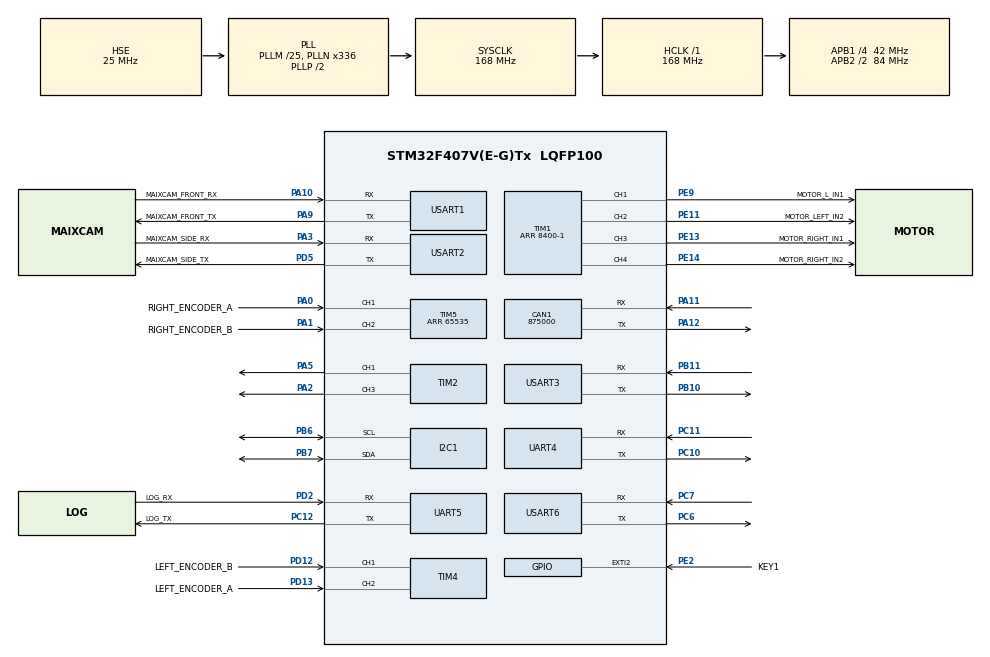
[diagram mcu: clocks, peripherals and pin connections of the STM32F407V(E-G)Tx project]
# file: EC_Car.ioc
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CAN1.CalculateBaudRate=875000
CAN1.CalculateTimeBit=1142
CAN1.CalculateTimeQuantum=380.95238095238096
Dma.Request0=USART1_RX
Dma.Request1=USART2_RX
Dma.Request2=USART6_RX
Dma.Request3=UART5_TX
Dma.UART5_TX.3.Direction=DMA_MEMORY_TO_PERIPH
Dma.UART5_TX.3.FIFOMode=DMA_FIFOMODE_DISABLE
Dma.UART5_TX.3.Instance=DMA1_Stream7
Dma.UART5_TX.3.MemDataAlignment=DMA_MDATAALIGN_BYTE
Dma.UART5_TX.3.MemInc=DMA_MINC_ENABLE
Dma.UART5_TX.3.Mode=DMA_NORMAL
Dma.UART5_TX.3.PeriphDataAlignment=DMA_PDATAALIGN_BYTE
Dma.UART5_TX.3.PeriphInc=DMA_PINC_DISABLE
Dma.UART5_TX.3.Priority=DMA_PRIORITY_LOW
Dma.USART1_RX.0.Direction=DMA_PERIPH_TO_MEMORY
Dma.USART1_RX.0.FIFOMode=DMA_FIFOMODE_DISABLE
Dma.USART1_RX.0.Instance=DMA2_Stream2
Dma.USART1_RX.0.MemDataAlignment=DMA_MDATAALIGN_BYTE
Dma.USART1_RX.0.MemInc=DMA_MINC_ENABLE
Dma.USART1_RX.0.Mode=DMA_NORMAL
Dma.USART1_RX.0.PeriphDataAlignment=DMA_PDATAALIGN_BYTE
Dma.USART1_RX.0.PeriphInc=DMA_PINC_DISABLE
Dma.USART1_RX.0.Priority=DMA_PRIORITY_LOW
Dma.USART2_RX.1.Direction=DMA_PERIPH_TO_MEMORY
Dma.USART2_RX.1.FIFOMode=DMA_FIFOMODE_DISABLE
Dma.USART2_RX.1.Instance=DMA1_Stream5
Dma.USART2_RX.1.MemDataAlignment=DMA_MDATAALIGN_BYTE
Dma.USART2_RX.1.MemInc=DMA_MINC_ENABLE
Dma.USART2_RX.1.Mode=DMA_NORMAL
Dma.USART2_RX.1.PeriphDataAlignment=DMA_PDATAALIGN_BYTE
Dma.USART2_RX.1.PeriphInc=DMA_PINC_DISABLE
Dma.USART2_RX.1.Priority=DMA_PRIORITY_LOW
Dma.USART6_RX.2.Direction=DMA_PERIPH_TO_MEMORY
Dma.USART6_RX.2.FIFOMode=DMA_FIFOMODE_DISABLE
Dma.USART6_RX.2.Instance=DMA2_Stream1
Dma.USART6_RX.2.MemDataAlignment=DMA_MDATAALIGN_BYTE
Dma.USART6_RX.2.MemInc=DMA_MINC_ENABLE
Dma.USART6_RX.2.Mode=DMA_NORMAL
Dma.USART6_RX.2.PeriphDataAlignment=DMA_PDATAALIGN_BYTE
Dma.USART6_RX.2.PeriphInc=DMA_PINC_DISABLE
Dma.USART6_RX.2.Priority=DMA_PRIORITY_LOW
FREERTOS.Tasks01=defaultTask,24,128,StartDefaultTask,Default,NULL,Dynamic,NULL,NULL;CAR,24,1024,CarTask,Default,NULL,Dynamic,NULL,NULL
Mcu.Family=STM32F4
Mcu.Name=STM32F407V(E-G)Tx
Mcu.Package=LQFP100
NVIC.DMA1_Stream5_IRQn=true\:5\:0\:false\:false\:true\:true\:false\:true\:true
NVIC.DMA1_Stream7_IRQn=true\:5\:0\:false\:false\:true\:true\:false\:true\:true
NVIC.DMA2_Stream1_IRQn=true\:5\:0\:false\:false\:true\:true\:false\:true\:true
NVIC.DMA2_Stream2_IRQn=true\:5\:0\:false\:false\:true\:true\:false\:true\:true
NVIC.EXTI2_IRQn=true\:5\:0\:false\:false\:true\:true\:true\:true\:true
NVIC.PriorityGroup=NVIC_PRIORITYGROUP_4
NVIC.TIM4_IRQn=true\:5\:0\:false\:false\:true\:true\:true\:true\:true
NVIC.TIM5_IRQn=true\:5\:0\:false\:false\:true\:true\:true\:true\:true
NVIC.TIM6_DAC_IRQn=true\:15\:0\:false\:false\:true\:false\:false\:true\:true
NVIC.TIM7_IRQn=true\:5\:0\:false\:false\:true\:true\:true\:true\:true
NVIC.TimeBase=TIM6_DAC_IRQn
NVIC.TimeBaseIP=TIM6
NVIC.UART5_IRQn=true\:5\:0\:false\:false\:true\:true\:false\:true\:true
NVIC.USART1_IRQn=true\:5\:0\:false\:false\:true\:true\:true\:true\:true
NVIC.USART2_IRQn=true\:5\:0\:false\:false\:true\:true\:true\:true\:true
NVIC.USART6_IRQn=true\:5\:0\:false\:false\:true\:true\:true\:true\:true
PA0-WKUP.GPIO_Label=RIGHT_ENCODER_A
PA0-WKUP.Signal=S_TIM5_CH1
PA1.GPIO_Label=RIGHT_ENCODER_B
PA1.Signal=S_TIM5_CH2
PA10.GPIO_Label=MAIXCAM_FRONT_RX
PA10.Mode=Asynchronous
PA10.Signal=USART1_RX
PA11.Mode=CAN_Activate
PA11.Signal=CAN1_RX
PA12.Mode=CAN_Activate
PA12.Signal=CAN1_TX
PA13.Mode=Serial_Wire
PA13.Signal=SYS_JTMS-SWDIO
PA14.Mode=Serial_Wire
PA14.Signal=SYS_JTCK-SWCLK
PA2.Signal=S_TIM2_CH3
PA3.GPIO_Label=MAIXCAM_SIDE_RX
PA3.Mode=Asynchronous
PA3.Signal=USART2_RX
PA5.Signal=S_TIM2_CH1_ETR
PA9.GPIO_Label=MAIXCAM_FRONT_TX
PA9.Mode=Asynchronous
PA9.Signal=USART1_TX
PB10.Mode=Asynchronous
PB10.Signal=USART3_TX
PB11.Mode=Asynchronous
PB11.Signal=USART3_RX
PB6.Mode=I2C
PB6.Signal=I2C1_SCL
PB7.Mode=I2C
PB7.Signal=I2C1_SDA
PC10.Mode=Asynchronous
PC10.Signal=UART4_TX
PC11.Mode=Asynchronous
PC11.Signal=UART4_RX
PC12.GPIO_Label=LOG_TX
PC12.Mode=Asynchronous
PC12.Signal=UART5_TX
PC6.Mode=Asynchronous
PC6.Signal=USART6_TX
PC7.Mode=Asynchronous
PC7.Signal=USART6_RX
PD12.GPIO_Label=LEFT_ENCODER_B
PD12.Signal=S_TIM4_CH1
PD13.GPIO_Label=LEFT_ENCODER_A
PD13.Signal=S_TIM4_CH2
PD2.GPIO_Label=LOG_RX
PD2.Mode=Asynchronous
PD2.Signal=UART5_RX
PD5.GPIO_Label=MAIXCAM_SIDE_TX
PD5.Mode=Asynchronous
PD5.Signal=USART2_TX
PE11.GPIO_Label=MOTOR_LEFT_IN2
PE11.Signal=S_TIM1_CH2
PE13.GPIO_Label=MOTOR_RIGHT_IN1
PE13.Signal=S_TIM1_CH3
PE14.GPIO_Label=MOTOR_RIGHT_IN2
PE14.Signal=S_TIM1_CH4
PE2.GPIO_Label=KEY1
PE2.GPIO_ModeDefaultEXTI=GPIO_MODE_IT_FALLING
PE2.GPIO_PuPd=GPIO_PULLUP
PE2.Signal=GPXTI2
PE9.GPIO_Label=MOTOR_L_IN1
PE9.Signal=S_TIM1_CH1
PH0-OSC_IN.Mode=HSE-External-Oscillator
PH0-OSC_IN.Signal=RCC_OSC_IN
PH1-OSC_OUT.Mode=HSE-External-Oscillator
PH1-OSC_OUT.Signal=RCC_OSC_OUT
ProjectManager.HeapSize=0x200
ProjectManager.StackSize=0x400
ProjectManager.TargetToolchain=MDK-ARM V5.32
RCC.48MHZClocksFreq_Value=84000000
RCC.AHBFreq_Value=168000000
RCC.APB1CLKDivider=RCC_HCLK_DIV4
RCC.APB1Freq_Value=42000000
RCC.APB1TimFreq_Value=84000000
RCC.APB2CLKDivider=RCC_HCLK_DIV2
RCC.APB2Freq_Value=84000000
RCC.APB2TimFreq_Value=168000000
RCC.CortexFreq_Value=168000000
RCC.HCLKFreq_Value=168000000
RCC.HSE_VALUE=25000000
RCC.HSI_VALUE=16000000
RCC.LSE_VALUE=32768
RCC.PLLM=25
RCC.PLLN=336
RCC.PLLSourceVirtual=RCC_PLLSOURCE_HSE
RCC.SYSCLKFreq_VALUE=168000000
RCC.SYSCLKSource=RCC_SYSCLKSOURCE_PLLCLK
RCC.VCOOutputFreq_Value=336000000
SH.S_TIM1_CH1.0=TIM1_CH1,PWM Generation1 CH1
SH.S_TIM1_CH2.0=TIM1_CH2,PWM Generation2 CH2
SH.S_TIM1_CH3.0=TIM1_CH3,PWM Generation3 CH3
SH.S_TIM1_CH4.0=TIM1_CH4,PWM Generation4 CH4
SH.S_TIM2_CH1_ETR.0=TIM2_CH1,PWM Generation1 CH1
SH.S_TIM2_CH3.0=TIM2_CH3,PWM Generation3 CH3
SH.S_TIM4_CH1.0=TIM4_CH1,Encoder_Interface
SH.S_TIM4_CH2.0=TIM4_CH2,Encoder_Interface
SH.S_TIM5_CH1.0=TIM5_CH1,Encoder_Interface
SH.S_TIM5_CH2.0=TIM5_CH2,Encoder_Interface
TIM1.Channel-PWM\ Generation1\ CH1=TIM_CHANNEL_1
TIM1.Channel-PWM\ Generation2\ CH2=TIM_CHANNEL_2
TIM1.Channel-PWM\ Generation3\ CH3=TIM_CHANNEL_3
TIM1.Channel-PWM\ Generation4\ CH4=TIM_CHANNEL_4
TIM1.Period=8400-1
TIM2.Channel-PWM\ Generation1\ CH1=TIM_CHANNEL_1
TIM2.Channel-PWM\ Generation3\ CH3=TIM_CHANNEL_3
TIM4.EncoderMode=TIM_ENCODERMODE_TI12
TIM4.IC1Filter=6
TIM4.IC2Filter=6
TIM5.EncoderMode=TIM_ENCODERMODE_TI12
TIM5.IC1Filter=6
TIM5.IC2Filter=6
TIM5.Period=65535
TIM7.AutoReloadPreload=TIM_AUTORELOAD_PRELOAD_ENABLE
TIM7.Period=100-1
TIM7.Prescaler=8400-1
UART4.VirtualMode=Asynchronous
UART5.VirtualMode=Asynchronous
USART1.VirtualMode=VM_ASYNC
USART2.VirtualMode=VM_ASYNC
USART3.VirtualMode=VM_ASYNC
USART6.VirtualMode=VM_ASYNC
VP_FREERTOS_VS_CMSIS_V2.Mode=CMSIS_V2
VP_SYS_VS_tim6.Mode=TIM6
VP_TIM1_VS_ClockSourceINT.Mode=Internal
VP_TIM7_VS_ClockSourceINT.Mode=Enable_Timer
board=custom

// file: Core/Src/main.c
/* USER CODE BEGIN Header */
/**
  ******************************************************************************
  * @file           : main.c
  * @brief          : Main program body
  ******************************************************************************
  * @attention
  *
  * Copyright (c) 2026 STMicroelectronics.
  * All rights reserved.
  *
  * This software is licensed under terms that can be found in the LICENSE file
  * in the root directory of this software component.
  * If no LICENSE file comes with this software, it is provided AS-IS.
  *
  ******************************************************************************
  */
/* USER CODE END Header */
#include "main.h"
#include "cmsis_os.h"
#include "can.h"
#include "dma.h"
#include "i2c.h"
#include "tim.h"
#include "usart.h"
#include "gpio.h"

/* USER CODE BEGIN Includes */
#include <stdio.h>
#include "maixcam.h"
#include "car_task.h"
#include "key.h"
#include "motor.h"
#include "encoder.h"
#include "control.h"
/* USER CODE END Includes */

void SystemClock_Config(void);
void MX_FREERTOS_Init(void);

/* USER CODE BEGIN 0 */
void HAL_UARTEx_RxEventCallback(UART_HandleTypeDef *huart, uint16_t Size) {
  Maixcam_onRxEvent(huart, Size);
}

void HAL_GPIO_EXTI_Callback(uint16_t GPIO_Pin) {
    key_onExti(GPIO_Pin);
}

//void HAL_TIM_PeriodElapsedCallback(TIM_HandleTypeDef *htim) {
//  if (htim->Instance == TIM7) {
//    encoder_read_info_10ms();
//    control_run_10ms();
//  }
//}

/* USER CODE END 0 */

int main(void)
{

  /* MCU Configuration--------------------------------------------------------*/

  /* Reset of all peripherals, Initializes the Flash interface and the Systick. */
  HAL_Init();

  /* Configure the system clock */
  SystemClock_Config();

  /* Initialize all configured peripherals */
  MX_GPIO_Init();
  MX_DMA_Init();
  MX_USART1_UART_Init();
  MX_USART2_UART_Init();
  MX_USART6_UART_Init();
  MX_UART5_Init();
  MX_TIM1_Init();
  MX_TIM4_Init();
  MX_TIM5_Init();
  MX_TIM7_Init();
  MX_CAN1_Init();
  MX_I2C1_Init();
  MX_TIM2_Init();
  MX_UART4_Init();
  MX_USART3_UART_Init();
  /* USER CODE BEGIN 2 */
  Maixcam_init();
  encoder_init();
  motor_start();
  motor_load(0, 0);
  // HAL_TIM_Base_Start_IT(&htim7);

  /* USER CODE END 2 */

  /* Init scheduler */
  osKernelInitialize();  /* Call init function for freertos objects (in cmsis_os2.c) */
  MX_FREERTOS_Init();

  /* Start scheduler */
  osKernelStart();

  /* We should never get here as control is now taken by the scheduler */

  /* Infinite loop */
  while (1) {

  }
}

void SystemClock_Config(void)
{
  RCC_OscInitTypeDef RCC_OscInitStruct = {0};
  RCC_ClkInitTypeDef RCC_ClkInitStruct = {0};

  /** Configure the main internal regulator output voltage
  */
  __HAL_RCC_PWR_CLK_ENABLE();
  __HAL_PWR_VOLTAGESCALING_CONFIG(PWR_REGULATOR_VOLTAGE_SCALE1);

  /** Initializes the RCC Oscillators according to the specified parameters
  * in the RCC_OscInitTypeDef structure.
  */
  RCC_OscInitStruct.OscillatorType = RCC_OSCILLATORTYPE_HSE;
  RCC_OscInitStruct.HSEState = RCC_HSE_ON;
  RCC_OscInitStruct.PLL.PLLState = RCC_PLL_ON;
  RCC_OscInitStruct.PLL.PLLSource = RCC_PLLSOURCE_HSE;
  RCC_OscInitStruct.PLL.PLLM = 25;
  RCC_OscInitStruct.PLL.PLLN = 336;
  RCC_OscInitStruct.PLL.PLLP = RCC_PLLP_DIV2;
  RCC_OscInitStruct.PLL.PLLQ = 4;
  if (HAL_RCC_OscConfig(&RCC_OscInitStruct) != HAL_OK)
  {
    Error_Handler();
  }

  /** Initializes the CPU, AHB and APB buses clocks
  */
  RCC_ClkInitStruct.ClockType = RCC_CLOCKTYPE_HCLK|RCC_CLOCKTYPE_SYSCLK
                              |RCC_CLOCKTYPE_PCLK1|RCC_CLOCKTYPE_PCLK2;
  RCC_ClkInitStruct.SYSCLKSource = RCC_SYSCLKSOURCE_PLLCLK;
  RCC_ClkInitStruct.AHBCLKDivider = RCC_SYSCLK_DIV1;
  RCC_ClkInitStruct.APB1CLKDivider = RCC_HCLK_DIV4;
  RCC_ClkInitStruct.APB2CLKDivider = RCC_HCLK_DIV2;

  if (HAL_RCC_ClockConfig(&RCC_ClkInitStruct, FLASH_LATENCY_5) != HAL_OK)
  {
    Error_Handler();
  }
}

void HAL_TIM_PeriodElapsedCallback(TIM_HandleTypeDef *htim)
{
  if (htim->Instance == TIM6)
  {
    HAL_IncTick();
  }
}

void Error_Handler(void)
{
  __disable_irq();
  while (1)
  {
  }
}

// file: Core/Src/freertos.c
/* USER CODE BEGIN Header */
/**
  ******************************************************************************
  * File Name          : freertos.c
  * Description        : Code for freertos applications
  ******************************************************************************
  * @attention
  *
  * Copyright (c) 2026 STMicroelectronics.
  * All rights reserved.
  *
  * This software is licensed under terms that can be found in the LICENSE file
  * in the root directory of this software component.
  * If no LICENSE file comes with this software, it is provided AS-IS.
  *
  ******************************************************************************
  */
/* USER CODE END Header */

#include "FreeRTOS.h"
#include "task.h"
#include "main.h"
#include "cmsis_os.h"

/* USER CODE BEGIN Includes */
#include "key.h"
#include "car_task.h"
#include "encoder.h"
#include "control.h"
/* USER CODE END Includes */

/* Definitions for defaultTask */
osThreadId_t defaultTaskHandle;
const osThreadAttr_t defaultTask_attributes = {
  .name = "defaultTask",
  .stack_size = 128 * 4,
  .priority = (osPriority_t) osPriorityNormal,
};
/* Definitions for CAR */
osThreadId_t CARHandle;
const osThreadAttr_t CAR_attributes = {
  .name = "CAR",
  .stack_size = 1024 * 4,
  .priority = (osPriority_t) osPriorityNormal,
};

void StartDefaultTask(void *argument);
void CarTask(void *argument);

void MX_FREERTOS_Init(void); /* (MISRA C 2004 rule 8.1) */

void MX_FREERTOS_Init(void) {

  /* Create the thread(s) */
  /* creation of defaultTask */
  defaultTaskHandle = osThreadNew(StartDefaultTask, NULL, &defaultTask_attributes);

  /* creation of CAR */
  CARHandle = osThreadNew(CarTask, NULL, &CAR_attributes);

}

void StartDefaultTask(void *argument)
{
  for(;;)
  {
    osDelay(1);
  }
}

void CarTask(void *argument)
{
  /* USER CODE BEGIN CarTask */
  TickType_t last_wake = xTaskGetTickCount();
  /* Infinite loop */
  for(;;) {
    if (car_start_request) {
      car_start_request = 0;
      car_task_start();
    }
    encoder_read_info_10ms();
    control_run_10ms();
    car_task_run();
    vTaskDelayUntil(&last_wake, pdMS_TO_TICKS(10));

  }
  /* USER CODE END CarTask */
}
